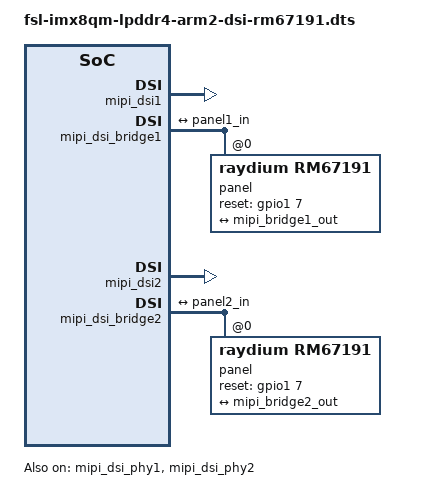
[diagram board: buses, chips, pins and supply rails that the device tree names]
/*
 * Copyright 2017 NXP
 *
 * This program is free software; you can redistribute it and/or
 * modify it under the terms of the GNU General Public License
 * as published by the Free Software Foundation; either version 2
 * of the License, or (at your option) any later version.
 *
 * This program is distributed in the hope that it will be useful,
 * but WITHOUT ANY WARRANTY; without even the implied warranty of
 * MERCHANTABILITY or FITNESS FOR A PARTICULAR PURPOSE.  See the
 * GNU General Public License for more details.
 */

#include "fsl-imx8qm-lpddr4-arm2.dts"

&hdmi {
	status = "disabled";
};

&ldb1_phy {
	status = "disabled";
};

&ldb1 {
	status = "disabled";
};

&ldb2_phy {
	status = "disabled";
};

&ldb2 {
	status = "disabled";
};

&mipi_dsi_phy1 {
	status = "okay";
};

&mipi_dsi1 {
	status = "okay";
};

&mipi_dsi_bridge1 {
	status = "okay";

	panel@0 {
		compatible = "raydium,rm67191";
		reg = <0>;
		pinctrl-0 = <&pinctrl_mipi_dsi_0_1_en>;
		reset-gpio = <&gpio1 7 GPIO_ACTIVE_HIGH>;
		dsi-lanes = <4>;
		panel-width-mm = <68>;
		panel-height-mm = <121>;
		port {
			panel1_in: endpoint {
				remote-endpoint = <&mipi_bridge1_out>;
			};
		};
	};

	port@1 {
		mipi_bridge1_out: endpoint {
			remote-endpoint = <&panel1_in>;
		};
	};
};

&mipi_dsi_phy2 {
	status = "okay";
};

&mipi_dsi2 {
	status = "okay";
};

&mipi_dsi_bridge2 {
	status = "okay";

	panel@0 {
		compatible = "raydium,rm67191";
		reg = <0>;
		pinctrl-0 = <&pinctrl_mipi_dsi_0_1_en>;
		reset-gpio = <&gpio1 7 GPIO_ACTIVE_HIGH>;
		dsi-lanes = <4>;
		panel-width-mm = <68>;
		panel-height-mm = <121>;
		port {
			panel2_in: endpoint {
				remote-endpoint = <&mipi_bridge2_out>;
			};
		};
	};

	port@1 {
		mipi_bridge2_out: endpoint {
			remote-endpoint = <&panel2_in>;
		};
	};
};
